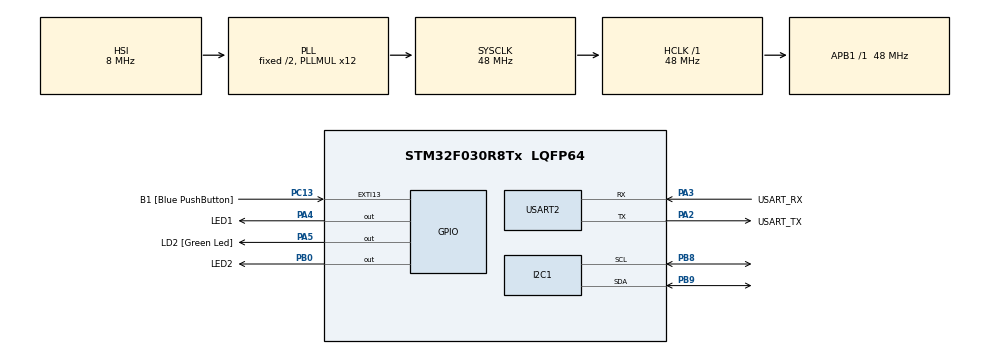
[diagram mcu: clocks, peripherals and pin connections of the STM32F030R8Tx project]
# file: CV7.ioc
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FREERTOS.Queues01=xVisualQueue,16,int16_t,0,Dynamic,NULL,NULL
FREERTOS.Tasks01=defaultTask,0,128,StartDefaultTask,Default,NULL,Dynamic,NULL,NULL;VisualTask,0,128,StartVisualTask,Default,NULL,Dynamic,NULL,NULL;AcceleroTask,0,128,StartAcceleroTask,Default,NULL,Dynamic,NULL,NULL
Mcu.Family=STM32F0
Mcu.Name=STM32F030R8Tx
Mcu.Package=LQFP64
NVIC.TIM1_BRK_UP_TRG_COM_IRQn=true\:0\:0\:false\:false\:true\:false\:false\:true
NVIC.TimeBase=TIM1_BRK_UP_TRG_COM_IRQn
NVIC.TimeBaseIP=TIM1
PA13.GPIO_Label=TMS
PA13.Mode=Serial_Wire
PA13.Signal=SYS_SWDIO
PA14.GPIO_Label=TCK
PA14.Mode=Serial_Wire
PA14.Signal=SYS_SWCLK
PA2.GPIO_Label=USART_TX
PA2.GPIO_Mode=GPIO_MODE_AF_PP
PA2.GPIO_PuPd=GPIO_NOPULL
PA2.GPIO_Speed=GPIO_SPEED_FREQ_LOW
PA2.Mode=Asynchronous
PA2.Signal=USART2_TX
PA3.GPIO_Label=USART_RX
PA3.GPIO_Mode=GPIO_MODE_AF_PP
PA3.GPIO_PuPd=GPIO_NOPULL
PA3.GPIO_Speed=GPIO_SPEED_FREQ_LOW
PA3.Mode=Asynchronous
PA3.Signal=USART2_RX
PA4.GPIO_Label=LED1
PA4.Signal=GPIO_Output
PA5.GPIO_Label=LD2 [Green Led]
PA5.GPIO_Mode=GPIO_MODE_OUTPUT_PP
PA5.GPIO_PuPd=GPIO_NOPULL
PA5.GPIO_Speed=GPIO_SPEED_FREQ_LOW
PA5.Signal=GPIO_Output
PB0.GPIO_Label=LED2
PB0.Signal=GPIO_Output
PB8.Mode=I2C
PB8.Signal=I2C1_SCL
PB9.Mode=I2C
PB9.Signal=I2C1_SDA
PC13.GPIO_Label=B1 [Blue PushButton]
PC13.GPIO_ModeDefaultEXTI=GPIO_MODE_IT_FALLING
PC13.Signal=GPXTI13
PC14-OSC32_IN.Mode=LSE-External-Oscillator
PC14-OSC32_IN.Signal=RCC_OSC32_IN
PC15-OSC32_OUT.Mode=LSE-External-Oscillator
PC15-OSC32_OUT.Signal=RCC_OSC32_OUT
PF0-OSC_IN.Mode=HSE-External-Clock-Source
PF0-OSC_IN.Signal=RCC_OSC_IN
PF1-OSC_OUT.Signal=RCC_OSC_OUT
ProjectManager.HeapSize=0x200
ProjectManager.StackSize=0x400
ProjectManager.TargetToolchain=STM32CubeIDE
RCC.AHBFreq_Value=48000000
RCC.APB1Freq_Value=48000000
RCC.APB1TimFreq_Value=48000000
RCC.HCLKFreq_Value=48000000
RCC.PLLMUL=RCC_PLL_MUL12
RCC.SYSCLKFreq_VALUE=48000000
RCC.SYSCLKSource=RCC_SYSCLKSOURCE_PLLCLK
USART2.VirtualMode-Asynchronous=VM_ASYNC
VP_FREERTOS_VS_CMSIS_V1.Mode=CMSIS_V1
VP_SYS_VS_tim1.Mode=TIM1
board=NUCLEO-F030R8

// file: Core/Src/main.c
/* USER CODE BEGIN Header */
/**
 ******************************************************************************
 * @file           : main.c
 * @brief          : Main program body
 ******************************************************************************
 * @attention
 *
 * <h2><center>&copy; Copyright (c) 2020 STMicroelectronics.
 * All rights reserved.</center></h2>
 *
 * This software component is licensed by ST under BSD 3-Clause license,
 * the "License"; You may not use this file except in compliance with the
 * License. You may obtain a copy of the License at:
 *                        opensource.org/licenses/BSD-3-Clause
 *
 ******************************************************************************
 */
/* USER CODE END Header */

#include "main.h"
#include "cmsis_os.h"

/* USER CODE BEGIN Includes */
#include <stdio.h>
#include <stdlib.h>
#include "lis2dw12_reg.h"

/* USER CODE END Includes */

/* USER CODE BEGIN PTD */

typedef union{
  int16_t i16bit[3];
  uint8_t u8bit[6];
} axis3bit16_t;

/* USER CODE END PTD */

I2C_HandleTypeDef hi2c1;

UART_HandleTypeDef huart2;

osThreadId defaultTaskHandle;
osThreadId VisualTaskHandle;
osThreadId AcceleroTaskHandle;
osMessageQId xVisualQueueHandle;

void SystemClock_Config(void);
static void MX_GPIO_Init(void);
static void MX_USART2_UART_Init(void);
static void MX_I2C1_Init(void);
void StartDefaultTask(void const * argument);
void StartVisualTask(void const * argument);
void StartAcceleroTask(void const * argument);

/* USER CODE BEGIN PFP */
static int32_t platform_write(void *handle, uint8_t reg, uint8_t *bufp, uint16_t len);
static int32_t platform_read(void *handle, uint8_t reg, uint8_t *bufp, uint16_t len);
static stmdev_ctx_t lis2dw12 = {
		.write_reg = platform_write,
		.read_reg = platform_read,
		.handle = &hi2c1,
};

/* USER CODE END PFP */

/* USER CODE BEGIN 0 */
int _write(int file, char const *buf, int n)
{
	/* stdout redirection to UART2 */
	HAL_UART_Transmit(&huart2, (uint8_t*)(buf), n, HAL_MAX_DELAY);
	return n;
}

static int32_t platform_write(void *handle, uint8_t reg, uint8_t *bufp, uint16_t len)
{
	HAL_I2C_Mem_Write(handle, LIS2DW12_I2C_ADD_H, reg, I2C_MEMADD_SIZE_8BIT, bufp, len, 1000);
	return 0;
}
static int32_t platform_read(void *handle, uint8_t reg, uint8_t *bufp, uint16_t len)
{
	HAL_I2C_Mem_Read(handle, LIS2DW12_I2C_ADD_H, reg, I2C_MEMADD_SIZE_8BIT, bufp, len, 1000);
	return 0;
}

/* USER CODE END 0 */

int main(void)
{
	/* USER CODE BEGIN 1 */

	lis2dw12_full_scale_set(&lis2dw12, LIS2DW12_2g);
	lis2dw12_power_mode_set(&lis2dw12, LIS2DW12_CONT_LOW_PWR_LOW_NOISE_2);
	lis2dw12_block_data_update_set(&lis2dw12, PROPERTY_ENABLE);
	lis2dw12_fifo_mode_set(&lis2dw12, LIS2DW12_STREAM_MODE); // enable continuous FIFO
	lis2dw12_data_rate_set(&lis2dw12, LIS2DW12_XL_ODR_25Hz); // enable part from power-down

	/* USER CODE END 1 */

	/* MCU Configuration--------------------------------------------------------*/

	/* Reset of all peripherals, Initializes the Flash interface and the Systick. */
	HAL_Init();

	/* Configure the system clock */
	SystemClock_Config();

	/* Initialize all configured peripherals */
	MX_GPIO_Init();
	MX_USART2_UART_Init();
	MX_I2C1_Init();
	/* USER CODE BEGIN 2 */
	printf("Hello\n");

	/* USER CODE END 2 */

	/* Create the queue(s) */
	/* definition and creation of xVisualQueue */
	osMessageQDef(xVisualQueue, 16, int16_t);
	xVisualQueueHandle = osMessageCreate(osMessageQ(xVisualQueue), NULL);

	/* Create the thread(s) */
	/* definition and creation of defaultTask */
	osThreadDef(defaultTask, StartDefaultTask, osPriorityNormal, 0, 128);
	defaultTaskHandle = osThreadCreate(osThread(defaultTask), NULL);

	/* definition and creation of VisualTask */
	osThreadDef(VisualTask, StartVisualTask, osPriorityNormal, 0, 128);
	VisualTaskHandle = osThreadCreate(osThread(VisualTask), NULL);

	/* definition and creation of AcceleroTask */
	osThreadDef(AcceleroTask, StartAcceleroTask, osPriorityNormal, 0, 128);
	AcceleroTaskHandle = osThreadCreate(osThread(AcceleroTask), NULL);

	/* Start scheduler */
	osKernelStart();

	/* We should never get here as control is now taken by the scheduler */

	/* Infinite loop */
	while (1)
	{

	}
}

void SystemClock_Config(void)
{
	RCC_OscInitTypeDef RCC_OscInitStruct = {0};
	RCC_ClkInitTypeDef RCC_ClkInitStruct = {0};
	RCC_PeriphCLKInitTypeDef PeriphClkInit = {0};

	/** Initializes the CPU, AHB and APB busses clocks
	 */
	RCC_OscInitStruct.OscillatorType = RCC_OSCILLATORTYPE_HSI;
	RCC_OscInitStruct.HSIState = RCC_HSI_ON;
	RCC_OscInitStruct.HSICalibrationValue = RCC_HSICALIBRATION_DEFAULT;
	RCC_OscInitStruct.PLL.PLLState = RCC_PLL_ON;
	RCC_OscInitStruct.PLL.PLLSource = RCC_PLLSOURCE_HSI;
	RCC_OscInitStruct.PLL.PLLMUL = RCC_PLL_MUL12;
	RCC_OscInitStruct.PLL.PREDIV = RCC_PREDIV_DIV1;
	if (HAL_RCC_OscConfig(&RCC_OscInitStruct) != HAL_OK)
	{
		Error_Handler();
	}
	/** Initializes the CPU, AHB and APB busses clocks
	 */
	RCC_ClkInitStruct.ClockType = RCC_CLOCKTYPE_HCLK|RCC_CLOCKTYPE_SYSCLK
			|RCC_CLOCKTYPE_PCLK1;
	RCC_ClkInitStruct.SYSCLKSource = RCC_SYSCLKSOURCE_PLLCLK;
	RCC_ClkInitStruct.AHBCLKDivider = RCC_SYSCLK_DIV1;
	RCC_ClkInitStruct.APB1CLKDivider = RCC_HCLK_DIV1;

	if (HAL_RCC_ClockConfig(&RCC_ClkInitStruct, FLASH_LATENCY_1) != HAL_OK)
	{
		Error_Handler();
	}
	PeriphClkInit.PeriphClockSelection = RCC_PERIPHCLK_I2C1;
	PeriphClkInit.I2c1ClockSelection = RCC_I2C1CLKSOURCE_HSI;
	if (HAL_RCCEx_PeriphCLKConfig(&PeriphClkInit) != HAL_OK)
	{
		Error_Handler();
	}
}

static void MX_I2C1_Init(void)
{

	hi2c1.Instance = I2C1;
	hi2c1.Init.Timing = 0x2000090E;
	hi2c1.Init.OwnAddress1 = 0;
	hi2c1.Init.AddressingMode = I2C_ADDRESSINGMODE_7BIT;
	hi2c1.Init.DualAddressMode = I2C_DUALADDRESS_DISABLE;
	hi2c1.Init.OwnAddress2 = 0;
	hi2c1.Init.OwnAddress2Masks = I2C_OA2_NOMASK;
	hi2c1.Init.GeneralCallMode = I2C_GENERALCALL_DISABLE;
	hi2c1.Init.NoStretchMode = I2C_NOSTRETCH_DISABLE;
	if (HAL_I2C_Init(&hi2c1) != HAL_OK)
	{
		Error_Handler();
	}
	/** Configure Analogue filter
	 */
	if (HAL_I2CEx_ConfigAnalogFilter(&hi2c1, I2C_ANALOGFILTER_ENABLE) != HAL_OK)
	{
		Error_Handler();
	}
	/** Configure Digital filter
	 */
	if (HAL_I2CEx_ConfigDigitalFilter(&hi2c1, 0) != HAL_OK)
	{
		Error_Handler();
	}

}

static void MX_USART2_UART_Init(void)
{

	huart2.Instance = USART2;
	huart2.Init.BaudRate = 38400;
	huart2.Init.WordLength = UART_WORDLENGTH_8B;
	huart2.Init.StopBits = UART_STOPBITS_1;
	huart2.Init.Parity = UART_PARITY_NONE;
	huart2.Init.Mode = UART_MODE_TX_RX;
	huart2.Init.HwFlowCtl = UART_HWCONTROL_NONE;
	huart2.Init.OverSampling = UART_OVERSAMPLING_16;
	huart2.Init.OneBitSampling = UART_ONE_BIT_SAMPLE_DISABLE;
	huart2.AdvancedInit.AdvFeatureInit = UART_ADVFEATURE_NO_INIT;
	if (HAL_UART_Init(&huart2) != HAL_OK)
	{
		Error_Handler();
	}

}

static void MX_GPIO_Init(void)
{
	GPIO_InitTypeDef GPIO_InitStruct = {0};

	/* GPIO Ports Clock Enable */
	__HAL_RCC_GPIOC_CLK_ENABLE();
	__HAL_RCC_GPIOF_CLK_ENABLE();
	__HAL_RCC_GPIOA_CLK_ENABLE();
	__HAL_RCC_GPIOB_CLK_ENABLE();

	/*Configure GPIO pin Output Level */
	HAL_GPIO_WritePin(GPIOA, LED1_Pin|LD2_Pin, GPIO_PIN_RESET);

	/*Configure GPIO pin Output Level */
	HAL_GPIO_WritePin(LED2_GPIO_Port, LED2_Pin, GPIO_PIN_RESET);

	/*Configure GPIO pin : B1_Pin */
	GPIO_InitStruct.Pin = B1_Pin;
	GPIO_InitStruct.Mode = GPIO_MODE_IT_FALLING;
	GPIO_InitStruct.Pull = GPIO_NOPULL;
	HAL_GPIO_Init(B1_GPIO_Port, &GPIO_InitStruct);

	/*Configure GPIO pins : LED1_Pin LD2_Pin */
	GPIO_InitStruct.Pin = LED1_Pin|LD2_Pin;
	GPIO_InitStruct.Mode = GPIO_MODE_OUTPUT_PP;
	GPIO_InitStruct.Pull = GPIO_NOPULL;
	GPIO_InitStruct.Speed = GPIO_SPEED_FREQ_LOW;
	HAL_GPIO_Init(GPIOA, &GPIO_InitStruct);

	/*Configure GPIO pin : LED2_Pin */
	GPIO_InitStruct.Pin = LED2_Pin;
	GPIO_InitStruct.Mode = GPIO_MODE_OUTPUT_PP;
	GPIO_InitStruct.Pull = GPIO_NOPULL;
	GPIO_InitStruct.Speed = GPIO_SPEED_FREQ_LOW;
	HAL_GPIO_Init(LED2_GPIO_Port, &GPIO_InitStruct);

}

/* USER CODE BEGIN 4 */
/*
 *
Replace the functions "platform_write" and "platform_read" with your
platform specific read and write function.
 */

/* USER CODE END 4 */

void StartDefaultTask(void const * argument)
{
	for(;;)
	{
		osDelay(1);
	}
}

void StartVisualTask(void const * argument)
{
	/* USER CODE BEGIN StartVisualTask */
	int16_t msg;

	/* Infinite loop */
	for(;;)
	{
		if (xQueueReceive(xVisualQueueHandle, &msg, portMAX_DELAY))
		{ // LED2 -> msg >200
			if (msg > 200)
			{
				HAL_GPIO_WritePin(LED1_GPIO_Port, LED1_Pin, 0);
				HAL_GPIO_WritePin(LED2_GPIO_Port, LED2_Pin, 1);
			}
			//LED1 -> msg<-200
			else if (msg < -200)
			{
				HAL_GPIO_WritePin(LED2_GPIO_Port, LED2_Pin, 0);
				HAL_GPIO_WritePin(LED1_GPIO_Port, LED1_Pin, 1);
			}
		}

		osDelay(1);
	}
	/* USER CODE END StartVisualTask */
}

void StartAcceleroTask(void const * argument)
{
	/* USER CODE BEGIN StartAcceleroTask */
	/* Infinite loop */

	uint8_t whoamI = 0;
	lis2dw12_device_id_get(&lis2dw12, &whoamI);
	printf("LIS2DW12_ID %s\n", (whoamI == LIS2DW12_ID) ? "OK" : "FAIL");

	for(;;)
	{

		uint8_t samples,i;
		axis3bit16_t data_raw_acceleration;
		lis2dw12_fifo_data_level_get(&lis2dw12, &samples);
		for (uint8_t i = 0; i < samples; i++)
		{
		// Read acceleration data
		lis2dw12_acceleration_raw_get(&lis2dw12, data_raw_acceleration.u8bit);
		}
		osDelay(50);// delay 50ms
		i++;
		xQueueSend(xVisualQueueHandle,&data_raw_acceleration.i16bit[0],0);
		if (i==20) // co 1s printf
		{
			printf("X=%d Y=%d Z=%d\n", data_raw_acceleration.i16bit[0],
				data_raw_acceleration.i16bit[1], data_raw_acceleration.i16bit[2]);
			i=0;
		}

		/* DEMO
		int16_t msg;
		int16_t msg1[]={-500,0,500,0};
		static uint8_t i = 0;
		msg=msg1[i];
		xQueueSend(xVisualQueueHandle, &msg, 0);

		i++;
		if (i==4) i=0;

		osDelay(300);
		// osDelay(1);

		 */
	}
	/* USER CODE END StartAcceleroTask */
}

void HAL_TIM_PeriodElapsedCallback(TIM_HandleTypeDef *htim)
{
	if (htim->Instance == TIM1) {
		HAL_IncTick();
	}
}

void Error_Handler(void)
{
}

/************************ (C) COPYRIGHT STMicroelectronics *****END OF FILE****/
